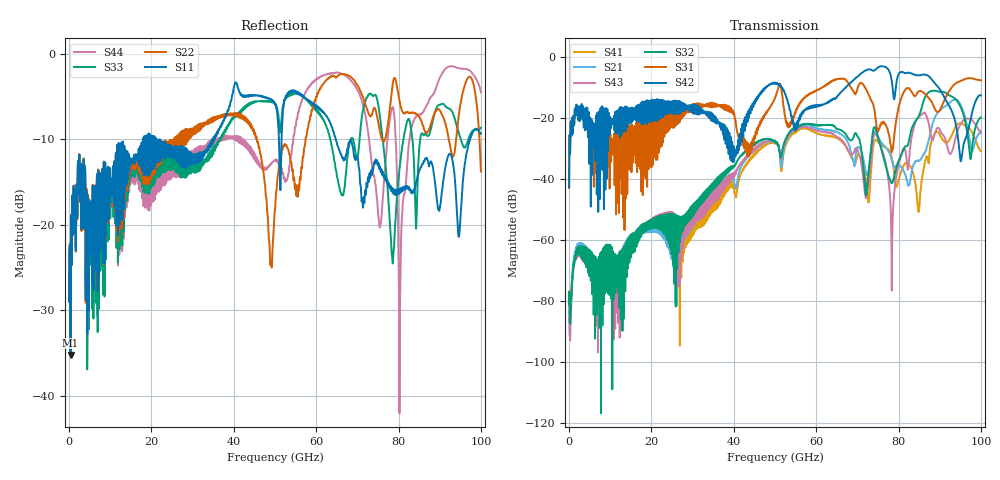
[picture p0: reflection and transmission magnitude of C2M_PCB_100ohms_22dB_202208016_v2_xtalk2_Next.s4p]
! Info: Touchstone file created by Circ.  Input file=Intel_C2M_200G_8p5in_202208016_staggered.circ
# Hz S RI R 50
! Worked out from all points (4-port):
!   10000 points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, 10 MHz to 100 GHz, reference 50 ohm
!   strongest paths, dB at 10 MHz, 25.01 GHz, 50.01 GHz, 75.01 GHz, 100 GHz:
!     S42: -42.6, -14.9, -8.4, -3.4, -12.6
!     S31: -42.9, -17.6, -13.3, -24.5, -7.7
!     S32: -80.9, -52.4, -27.9, -26.1, -19.8
!     S43: -85.3, -51.4, -28.1, -26.8, -25.0
!     S21: -82.0, -53.0, -28.0, -26.0, -24.2
!     S41: -84.3, -52.9, -28.3, -27.8, -30.9
!   lowest |S11| = -35.2 dB at 360 MHz (marker M1), VSWR 1.04, Z = 48.4 + j0.645 ohm
!   |S11| at or under -10 dB: start of sweep to 17.93 GHz; 21.08 GHz to 34.8 GHz (13.73 GHz wide, 49.1 % of centre); 64.72 GHz to 97.37 GHz (32.65 GHz wide, 40.3 % of centre)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
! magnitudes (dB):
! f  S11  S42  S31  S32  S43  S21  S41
! 10 MHz  -28.9  -42.6  -42.9  -80.9  -85.3  -82.0  -84.3
! 360 MHz  -35.2  -22.1  -22.3  -82.7  -86.6  -82.5  -83.0
! 56.19 GHz  -4.7  -18.9  -14.8  -22.3  -23.0  -22.4  -23.5
! 74.54 GHz  -12.7  -4.0  -21.2  -23.9  -25.5  -24.8  -27.2
! 78.41 GHz  -15.7  -8.3  -31.1  -41.4  -66.7  -33.9  -33.2
! 84.94 GHz  -13.8  -6.1  -11.3  -19.4  -19.6  -34.1  -50.5
! 100 GHz  -9.4  -12.6  -7.7  -19.8  -25.0  -24.2  -30.9
